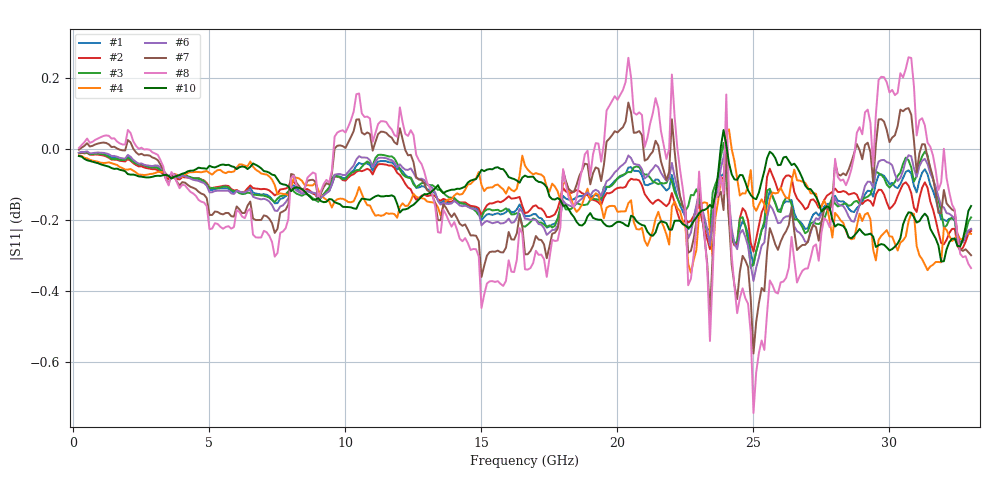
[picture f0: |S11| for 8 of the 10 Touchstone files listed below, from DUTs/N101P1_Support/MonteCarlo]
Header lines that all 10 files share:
# GHZ S RI R 50
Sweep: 200 MHz to 33 GHz
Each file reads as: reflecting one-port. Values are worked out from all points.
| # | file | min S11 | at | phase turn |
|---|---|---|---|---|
| 1 | N101P1_82.s2p | -0.3 dB | 25 GHz | -2368 deg |
| 2 | N101P1_83.s2p | -0.3 dB | 25 GHz | -2367 deg |
| 3 | N101P1_85.s2p | -0.3 dB | 24.9 GHz | -2368 deg |
| 4 | N101P1_86.s2p | -0.3 dB | 22.7 GHz | -2367 deg |
| 5 | N101P1_88.s2p | -0.3 dB | 31.3 GHz | -2368 deg |
| 6 | N101P1_89.s2p | -0.4 dB | 25 GHz | -2368 deg |
| 7 | N101P1_92.s2p | -0.6 dB | 25 GHz | -2369 deg |
| 8 | N101P1_95.s2p | -0.7 dB | 25 GHz | -2370 deg |
| 9 | N101P1_98.s2p | -0.4 dB | 31.4 GHz | -2367 deg |
| 10 | N101P1_99.s2p | -0.3 dB | 31.9 GHz | -2366 deg |
